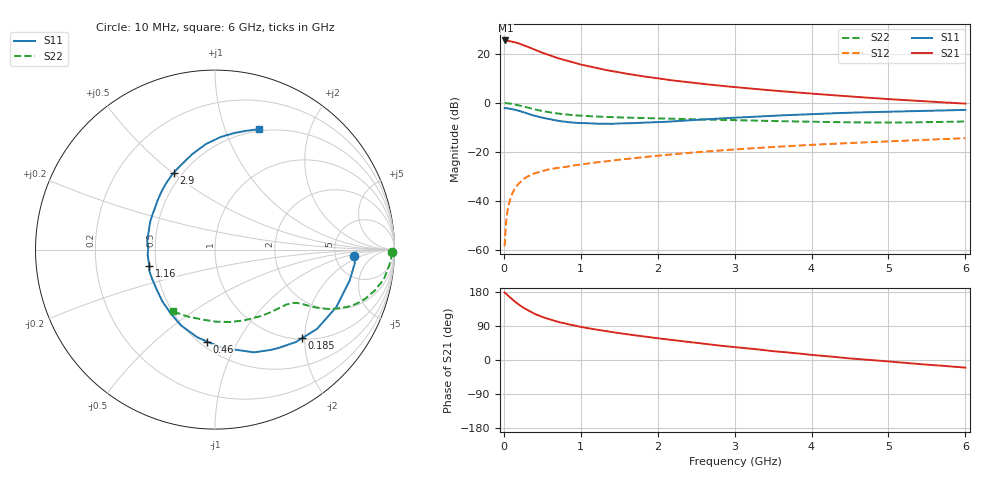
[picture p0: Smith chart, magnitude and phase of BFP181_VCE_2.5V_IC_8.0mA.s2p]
! Infineon Technologies  Discrete & RF Semiconductors
! BFP181
! VCE = 2.5 V,  IC =  8.0 mA
! Common Emitter S-Parameters:  Jan 2016
# GHz  S  MA  R  50
!  f  S11  S21  S12  S22
! GHz  MAG  ANG  MAG  ANG  MAG  ANG  MAG  ANG
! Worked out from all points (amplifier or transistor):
!   210 points, 10 MHz to 6 GHz, reference 50 ohm
!   highest |S21| = 25.4 dB at 20 MHz (marker M1)
!   |S21| within 3 dB of that: start of sweep to 342.9 MHz
!   unconditionally stable (mu >= 1): 1.237 GHz to end of sweep
!   at 185 MHz: K = 0.25, MSG = 28.7 dB, |S12| = -33.2 dB
!   at 1.52 GHz: K = 1.08, MAG = 16.0 dB, |S12| = -23.1 dB
!   at 6 GHz: K = 1.02, MAG = 6.3 dB, |S12| = -14.4 dB
!   S11 on the Smith chart (normalised r, x): 10 MHz: 7.65, -1.46; 185 MHz: 1.02, -1.94; 460 MHz: 0.54, -0.76; 1.16 GHz: 0.46, -0.10; 2.9 GHz: 0.45, +0.51; 6 GHz: 0.48, +1.32
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0.01  0.776 -2.8  18.5 178.0  0.0012 85.0  0.984 -0.9
0.02  0.7826 -5.5  18.59 176.5  0.0023 88.2  0.9854 -2.0
0.05  0.77 -12.8  18.36 170.6  0.0066 84.3  0.9749 -5.1
0.1  0.7479 -25.4  17.64 161.8  0.013 76.0  0.9548 -10.0
0.15  0.7198 -37.9  17.02 153.0  0.0189 71.1  0.9194 -14.3
0.185  0.6921 -45.5  16.33 147.8  0.0218 67.3  0.8928 -16.9
0.24  0.6526 -57.1  15.17 139.9  0.0265 63.4  0.85 -20.5
0.3  0.6119 -69.3  14.03 132.5  0.031 59.1  0.8019 -23.5
0.4  0.5473 -86.2  12.13 121.7  0.0365 54.2  0.7321 -26.9
0.46  0.5139 -94.9  11.1 117.0  0.0389 51.6  0.6997 -28.1
0.6  0.463 -114.3  9.245 106.7  0.0446 48.4  0.6366 -30.2
0.7  0.4313 -125.5  8.128 100.9  0.0473 47.4  0.6037 -31.1
0.8  0.4108 -135.8  7.339 95.8  0.0493 46.3  0.58 -31.7
1.02  0.3861 -155.4  5.922 86.7  0.0557 46.3  0.5435 -33.2
1.16  0.3785 -165.7  5.284 81.7  0.0599 45.8  0.5289 -34.3
1.5  0.3809 172.6  4.15 70.7  0.0692 45.8  0.5035 -37.2
2.02  0.4032 147.5  3.1 56.9  0.0841 44.4  0.4801 -43.5
2.9  0.4863 118.0  2.16 36.1  0.1092 40.1  0.4457 -56.9
3.1  0.5044 112.8  2.02 32.0  0.1147 39.0  0.4376 -60.4
4.1  0.5971 93.2  1.496 11.8  0.1415 32.1  0.4085 -80.5
5.1  0.6645 79.2  1.162 -5.5  0.1663 25.2  0.3961 -103.2
6  0.7152 69.8  0.962 -20.1  0.19 18.4  0.4161 -124.2
